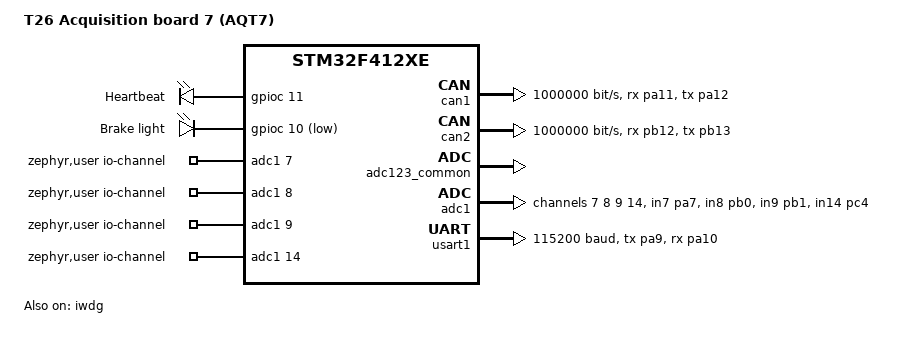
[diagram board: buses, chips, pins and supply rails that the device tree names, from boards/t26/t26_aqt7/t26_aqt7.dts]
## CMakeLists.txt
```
cmake_minimum_required(VERSION 3.20.0)

# The t26_aqt7 board lives in this folder (boards/t26/t26_aqt7).
# Zephyr doesn't search the application folder for boards on its own, so add it here.
list(APPEND BOARD_ROOT ${CMAKE_CURRENT_SOURCE_DIR})

# Default board when none is given (west build without -b, CLion "Let CMake decide").
# The board isn't in Zephyr's own board list, so IDE board pickers don't show it.
# A -b / BOARD given on the command line still takes precedence.
set(BOARD t26_aqt7 CACHE STRING "Zephyr board")

find_package(Zephyr REQUIRED HINTS $ENV{ZEPHYR_BASE})
project(t26_aqt7)

# Firmware version: Zephyr generates zephyr/app_version.h from the VERSION file (semver, bumped by CI)
# and puts this repository's commit in APP_BUILD_VERSION (git describe --abbrev=12 --always).
# By default it only regenerates when VERSION changes: also regenerate it when a commit, checkout or
# git add changes HEAD, the branch ref or the index, so an incremental build reports the right commit.
find_package(Git QUIET)
if(GIT_FOUND)
  execute_process(
    COMMAND ${GIT_EXECUTABLE} rev-parse --path-format=absolute
            --git-path HEAD --git-path index --symbolic-full-name HEAD
    WORKING_DIRECTORY ${CMAKE_CURRENT_SOURCE_DIR}
    OUTPUT_VARIABLE git_out OUTPUT_STRIP_TRAILING_WHITESPACE
    RESULT_VARIABLE git_result ERROR_QUIET
  )
  if(git_result EQUAL 0)
    string(REPLACE "\n" ";" git_out "${git_out}")
    list(GET git_out 0 git_head)
    list(GET git_out 1 git_index)
    set(version_depends ${git_head} ${git_index})
    # Loose ref of the current branch (absent when packed or on a detached HEAD)
    list(LENGTH git_out git_out_len)
    if(git_out_len GREATER 2)
      list(GET git_out 2 git_branch_ref)
      cmake_path(GET git_head PARENT_PATH git_dir)
      if(EXISTS ${git_dir}/${git_branch_ref})
        list(APPEND version_depends ${git_dir}/${git_branch_ref})
      endif()
    endif()
    set(existing_depends)
    foreach(f IN LISTS version_depends)
      if(EXISTS ${f})
        list(APPEND existing_depends ${f})
      endif()
    endforeach()
    set_property(TARGET app_version_h PROPERTY APP_VERSION_DEPENDS ${existing_depends})
    # A checkout to another branch changes which ref file to watch: reconfigure then
    if(EXISTS ${git_head})
      set_property(DIRECTORY APPEND PROPERTY CMAKE_CONFIGURE_DEPENDS ${git_head})
    endif()
  endif()
endif()

# fw_info block (src/fw_version.c) right after the vector table, where a bootloader or the CAN
# updater can find it. The sort key sorts after Zephyr's "0x1vectors" (vector table padding).
zephyr_linker_sources(ROM_START SORT_KEY 0x2fw_info src/fw_info.ld)

# Generated DBC code (cantools), updated by a workflow: never edit or move, only reference
set(DBC_DIR ${CMAKE_CURRENT_SOURCE_DIR}/Core/DBC)

target_sources(app PRIVATE
  src/main.c
  src/conversions.c
  src/sensors.c
  src/brake_light.c
  src/can_bus.c
  src/can_rx.c
  src/can_tx.c
  src/watchdog.c
  src/debug.c
  src/fw_version.c
  ${DBC_DIR}/data_t26.c
  ${DBC_DIR}/autonomous_t26.c
)

# "sim" shell command (CONFIG_AQT7_SIM, on by default when the shell is on)
target_sources_ifdef(CONFIG_AQT7_SIM app PRIVATE src/sim.c)

target_include_directories(app PRIVATE
  ${DBC_DIR}
)
```

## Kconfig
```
# Application options for the AQT7 firmware. Set them in prj.conf.

mainmenu "T26 AQT7"

config AQT7_DEBUG_PRINT_MS
	int "Period of the sensor values log (ms), 0 = off"
	default 100
	help
	  The debug thread logs the brake pressures, suspensions and NTC with
	  their ADC values on the console every this many milliseconds, like
	  execute_100ms_tasks() in the STM32CubeIDE firmware. 0 turns it off;
	  the acq7 debug snapshot is updated either way.

config AQT7_SIM
	bool "\"sim\" shell command to simulate the ADC sensor inputs"
	default y
	depends on SHELL
	help
	  Adds "sim set/mv/off/show" to the shell: any ADC channel (brake,
	  susp_l, susp_r, ntc) can be replaced by a value typed on the console.
	  The value goes through the same filter and conversions as a real
	  sample, so the brake light and the CAN frames follow it.
	  Turn it off for the car so a stray console byte can't fake a sensor.

source "Kconfig.zephyr"
```

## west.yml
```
manifest:
  self:
    path: T26_Acquisition_7
  remotes:
    - name: zephyrproject-rtos
      url-base: https://github.com/zephyrproject-rtos
  projects:
    - name: zephyr
      remote: zephyrproject-rtos
      revision: v4.5.0
      import:
        name-allowlist:
          - cmsis_6
          - hal_stm32
          - segger # RTT: log over SWD through the ST-LINK
```

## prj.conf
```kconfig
# GPIO: heartbeat (PC11) and brake light (PC10)
CONFIG_GPIO=y

# ADC1 (brake pressure, suspension, NTC) and CAN1/CAN2 drivers
CONFIG_ADC=y
CONFIG_CAN=y
# Error counters per type (stuff, form, ACK, bit, CRC) for can_bus_service()
CONFIG_STATS=y
CONFIG_CAN_STATS=y

# IWDG (watchdog0)
CONFIG_WATCHDOG=y
# sys_reboot(), used if a module fails to start and the IWDG isn't running
CONFIG_REBOOT=y

CONFIG_LOG=y
CONFIG_LOG_DEFAULT_LEVEL=3

# SEGGER RTT: a RAM buffer the ST-LINK reads/writes over SWD, so the shell and the log
# work with only the ST-LINK plugged in (west rtt -d build --runner openocd).
CONFIG_USE_SEGGER_RTT=y
# 4 KB up-buffer: ~2 s of the sensor log, so OpenOCD's polling never loses lines
CONFIG_SEGGER_RTT_BUFFER_SIZE_UP=4096
# Input buffer for shell commands (default 16 bytes cuts longer commands sent in one go)
CONFIG_SEGGER_RTT_BUFFER_SIZE_DOWN=128
# The log reaches RTT through the shell (below), which shares RTT channel 0 with it.
# A separate RTT log backend on the same channel would interleave with the shell, so it's off.
CONFIG_LOG_BACKEND_RTT=n

# %f in LOG_* / printk (sensor values in bar, mm, C)
CONFIG_CBPRINTF_FP_SUPPORT=y

# Use the Cortex-M4F hardware FPU for the sensor maths
CONFIG_FPU=y

# Sensor values log period (ms): 1 s keeps the console readable (the CubeIDE printf was every 100 ms). 0 = off (acq7 still updated)
CONFIG_AQT7_DEBUG_PRINT_MS=1000

# Shell on two transports, each with its own prompt and its own copy of the log:
#  - RTT over SWD (prompt "rtt:~$ "): needs only the ST-LINK. When nothing reads RTT (on
#    the car) the backend notices and drops output instead of waiting.
#  - USART1, 115200 8N1 (prompt "uart:~$ "): needs PA9/PA10 wired to the ST-LINK VCP or a
#    USB-UART adapter.
# Log messages go through the shell, so the prompt is redrawn around them;
# "log halt" / "log go" silence and resume the sensor log while typing.
CONFIG_SHELL=y
CONFIG_SHELL_BACKEND_RTT=y
CONFIG_SHELL_BACKEND_SERIAL=y
# Room for the float-formatting log calls that run in the shell thread
CONFIG_SHELL_STACK_SIZE=3072
# gpio get/set/conf, can send/show/filter (frames go onto the real bus), kernel threads/stacks
CONFIG_GPIO_SHELL=y
CONFIG_CAN_SHELL=y
CONFIG_KERNEL_SHELL=y
CONFIG_DEVICE_SHELL=y
```

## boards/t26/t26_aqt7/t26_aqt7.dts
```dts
/*
 * T26 Acquisition board 7 (AQT7)
 * MCU: STM32F412RET6 (512 KB Flash, 256 KB RAM, LQFP64)
 *
 * Pins and clocks follow T26_Acquisition_7.ioc (read-only reference).
 * Described: clocks, console, the two outputs, CAN1, CAN2, ADC1 and IWDG.
 */

/dts-v1/;
#include <st/f4/stm32f412Xe.dtsi>
#include <st/f4/stm32f412r(e-g)tx-pinctrl.dtsi>
#include <zephyr/dt-bindings/adc/adc.h>

/ {
	model = "T26 Acquisition board 7 (AQT7)";
	compatible = "t26,aqt7";

	chosen {
		zephyr,console = &usart1;
		zephyr,shell-uart = &usart1;
		zephyr,sram = &sram0;
		zephyr,flash = &flash0;
	};

	leds: leds {
		compatible = "gpio-leds";

		/* PC11, toggled by the firmware to show the main loop is alive */
		heartbeat: heartbeat {
			gpios = <&gpioc 11 GPIO_ACTIVE_HIGH>;
			label = "Heartbeat";
		};

		/* LIGHT SHOULD TURN ON WHEN BRAKING
		 * 10Kohm pull down on R55 with TYPE P MOSFET (NOT N, IGNORE SCH)
		 */
		brake_light: brake_light {
			gpios = <&gpioc 10 GPIO_ACTIVE_LOW>;
			label = "Brake light";
		};
	};

	aliases {
		led0 = &heartbeat;	/* lets samples/basic/blinky run unmodified */
		heartbeat = &heartbeat;
		brake-light = &brake_light;
		can-autonomous = &can1;
		can-data = &can2;
		watchdog0 = &iwdg;
	};

	/* ADC channels in scan order, for ADC_DT_SPEC_GET_BY_IDX(DT_PATH(zephyr_user), i):
	 * 0 brake pressure, 1 left suspension, 2 right suspension, 3 coolant NTC
	 */
	zephyr,user {
		io-channels = <&adc1 7>, <&adc1 8>, <&adc1 9>, <&adc1 14>;
	};
};

/*
 * CAN1: PA11 RX / PA12 TX, 1 Mbit/s.
 * IOC: prescaler 3, BS1 11, BS2 4 -> 16 tq at 48 MHz APB1, sample point (1 + 11) / 16 = 75 %.
 */
&can1 {
	pinctrl-0 = <&can1_rx_pa11 &can1_tx_pa12>;
	pinctrl-names = "default";
	bitrate = <1000000>;
	sample-point = <750>;
	status = "okay";
};

/*
 * CAN2 (DATA bus): PB12 RX / PB13 TX, 1 Mbit/s.
 * IOC: prescaler 3, BS1 13, BS2 2 -> 16 tq, sample point (1 + 13) / 16 = 87.5 %.
 * CAN2 is a slave of CAN1 (shared filter banks), so CAN1 must stay enabled.
 */
&can2 {
	pinctrl-0 = <&can2_rx_pb12 &can2_tx_pb13>;
	pinctrl-names = "default";
	bitrate = <1000000>;
	sample-point = <875>;
	status = "okay";
};

/* RX pins have the internal pull-up enabled in the IOC */
&can1_rx_pa11 {
	bias-pull-up;
};

&can2_rx_pb12 {
	bias-pull-up;
};

/* ADC clock = APB2 96 MHz / 4 = 24 MHz (max 36 MHz on the F412) */
&adc123_common {
	st,adc-prescaler = <4>;
	status = "okay";
};

/*
 * ADC1, 12 bit, 480 cycle sampling on every channel (same as the IOC).
 * The channel order matches the IOC scan ranks 1-4.
 */
&adc1 {
	pinctrl-0 = <&adc1_in7_pa7 &adc1_in8_pb0 &adc1_in9_pb1 &adc1_in14_pc4>;
	pinctrl-names = "default";
	status = "okay";
	#address-cells = <1>;
	#size-cells = <0>;

	/* Rank 1, PA7: brake pressure (BRK_PRESS) */
	brk_press: channel@7 {
		reg = <7>;
		zephyr,gain = "ADC_GAIN_1";
		zephyr,reference = "ADC_REF_INTERNAL";
		zephyr,acquisition-time = <ADC_ACQ_TIME(ADC_ACQ_TIME_TICKS, 480)>;
		zephyr,resolution = <12>;
	};

	/* Rank 2, PB0: left suspension (SUSP_LEFT) */
	susp_left: channel@8 {
		reg = <8>;
		zephyr,gain = "ADC_GAIN_1";
		zephyr,reference = "ADC_REF_INTERNAL";
		zephyr,acquisition-time = <ADC_ACQ_TIME(ADC_ACQ_TIME_TICKS, 480)>;
		zephyr,resolution = <12>;
	};

	/* Rank 3, PB1: right suspension (SUSP_RIGHT) */
	susp_right: channel@9 {
		reg = <9>;
		zephyr,gain = "ADC_GAIN_1";
		zephyr,reference = "ADC_REF_INTERNAL";
		zephyr,acquisition-time = <ADC_ACQ_TIME(ADC_ACQ_TIME_TICKS, 480)>;
		zephyr,resolution = <12>;
	};

	/* Rank 4, PC4: coolant NTC (NTC1) */
	ntc1: channel@e {
		reg = <14>;
		zephyr,gain = "ADC_GAIN_1";
		zephyr,reference = "ADC_REF_INTERNAL";
		zephyr,acquisition-time = <ADC_ACQ_TIME(ADC_ACQ_TIME_TICKS, 480)>;
		zephyr,resolution = <12>;
	};
};

/* LSI ~32 kHz: clock for the IWDG */
&clk_lsi {
	status = "okay";
};

/*
 * Independent watchdog, clocked from the LSI.
 * The timeout (~2 s in the CubeIDE firmware) is not a devicetree property:
 * the app sets it with wdt_install_timeout() (window.max = 2000 ms), then wdt_setup().
 */
&iwdg {
	status = "okay";
};

/* No crystal on the board: HSI 16 MHz, same as the CubeIDE firmware */
&clk_hsi {
	status = "okay";
};

/* 16 MHz / 8 * 96 = 192 MHz VCO, /2 = 96 MHz SYSCLK, /4 = 48 MHz (Q, unused) */
&pll {
	div-m = <8>;
	mul-n = <96>;
	div-p = <2>;
	div-q = <4>;
	clocks = <&clk_hsi>;
	status = "okay";
};

/* SYSCLK 96 MHz, APB1 48 MHz (CAN), APB2 96 MHz (ADC, USART1) */
&rcc {
	clocks = <&pll>;
	clock-frequency = <DT_FREQ_M(96)>;
	ahb-prescaler = <1>;
	apb1-prescaler = <2>;
	apb2-prescaler = <1>;
};

&usart1 {
	pinctrl-0 = <&usart1_tx_pa9 &usart1_rx_pa10>;
	pinctrl-names = "default";
	current-speed = <115200>;
	status = "okay";
};
```

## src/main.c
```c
/*
 * T26 Acquisition board 7 (AQT7), Zephyr port.
 * Based on "original" C code
 *
 * main starts the IWDG, sets up the hardware in order, starts each module's thread, then runs
 * the heartbeat and feeds the watchdog while every thread is alive.
 *
 * Every module is required, like in the CubeIDE firmware: if one fails to set up, watchdog_fail()
 * stops feeding and the board resets after 2 s and tries the whole setup again
 * (the CubeIDE firmware did the same through Error_Handler + IWDG).
 */

#include <zephyr/kernel.h>
#include <zephyr/drivers/gpio.h>
#include <zephyr/logging/log.h>

#include "brake_light.h"
#include "can_bus.h"
#include "can_rx.h"
#include "can_tx.h"
#include "debug.h"
#include "fw_version.h"
#include "sensors.h"
#include "watchdog.h"

LOG_MODULE_REGISTER(aqt7, LOG_LEVEL_INF);

#define HEARTBEAT_PERIOD_MS 100

static const struct gpio_dt_spec heartbeat = GPIO_DT_SPEC_GET(DT_ALIAS(heartbeat), gpios);

int main(void) {
    LOG_INF("T26 AQT7 fw %s starting on %s", fw_version_string(), CONFIG_BOARD);

    /* First, so a hang anywhere in the setup below also resets the board.
     * If it fails the board still runs, unprotected: that is better than not running at all.
     */
    if (watchdog_init() < 0) {
        LOG_ERR("IWDG not running: the board will NOT reset on a hang");
    }

    if (!gpio_is_ready_dt(&heartbeat) || gpio_pin_configure_dt(&heartbeat, GPIO_OUTPUT_INACTIVE) < 0) {
        watchdog_fail("heartbeat GPIO setup failed");
    }

    // ADC1: brake pressure, suspension, NTC
    if (sensors_init() < 0) {
        watchdog_fail("ADC setup failed");
    }

    // PC10 brake light
    if (brake_light_init() < 0) {
        watchdog_fail("brake light setup failed");
    }

    // Both CAN buses: start + RX filters
    if (can_bus_init(can_rx_ids, can_rx_id_count) < 0) {
        watchdog_fail("CAN setup failed");
    }

    // All hardware ready: start the threads (each registers with the watchdog)
    sensors_start();
    brake_light_start();
    can_rx_start();
    can_tx_start();
    debug_start();

    /* Absolute deadlines: the period doesn't drift with the time spent in the loop */
    int64_t next = k_uptime_get();

    while (1) {
        gpio_pin_toggle_dt(&heartbeat);
        watchdog_service();
        can_bus_service(); /* bus health, error log, restart of a stopped controller */

        next += HEARTBEAT_PERIOD_MS;
        k_sleep(K_TIMEOUT_ABS_MS(next));
    }

    return 0;
}
```

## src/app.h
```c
/*
 * Application-wide settings shared by the modules.
 */

#ifndef T26_AQT7_APP_H_
#define T26_AQT7_APP_H_

/*
 * Thread priorities: lower number = runs first (all preemptible).
 */
#define PRIO_SENSORS     2
#define PRIO_BRAKE_LIGHT 3
#define PRIO_CAN_RX      4
#define PRIO_CAN_TX      5
#define PRIO_DEBUG       6  /* lowest: snapshot and log only use spare CPU time */

#define STACK_SIZE_DEFAULT 1024
#define STACK_SIZE_DEBUG   2048 /* float formatting in the log */

#endif /* T26_AQT7_APP_H_ */
```

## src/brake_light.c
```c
/*
 * Brake light: PC10, driven from the rear (ADC) and front (CAN1 0x710) brake pressures.
 */

#include <zephyr/kernel.h>
#include <zephyr/drivers/gpio.h>
#include <zephyr/logging/log.h>

#include "app.h"
#include "watchdog.h"
#include "brake_light.h"
#include "can_rx.h"
#include "sensors.h"

LOG_MODULE_REGISTER(brake_light, LOG_LEVEL_INF);

#define BRAKE_LIGHT_PERIOD_MS 50 //cycle duration
#define PRESSURE_LEVEL_REAR 7
#define PRESSURE_LEVEL_FRONT 7

static const struct gpio_dt_spec gp_brake_light = GPIO_DT_SPEC_GET(DT_ALIAS(brake_light), gpios);

int brake_light_init(void) {
    if (!gpio_is_ready_dt(&gp_brake_light)) {
        LOG_ERR("Brake light GPIO not ready");
        return -ENODEV;
    }

    /* Inactive = light off: PC10 LOW, the same level the gate pull-down holds during reset */
    return gpio_pin_configure_dt(&gp_brake_light, GPIO_OUTPUT_INACTIVE);
}

/**
 * Brake Light Thread
 * @param p1 UNUSED
 * @param p2 UNUSED
 * @param p3 UNUSED
 */
static void brake_light_thread(void *p1, void *p2, void *p3) {
    ARG_UNUSED(p1);
    ARG_UNUSED(p2);
    ARG_UNUSED(p3);

    while (1) {
        watchdog_checkin(WDOG_BRAKE_LIGHT);

        bool is_on = sensors_get().rear_brake_bar >= PRESSURE_LEVEL_REAR
                     || get_front_brake_pressure() >= PRESSURE_LEVEL_FRONT;

        gpio_pin_set_dt(&gp_brake_light, is_on);

        k_sleep(K_MSEC(BRAKE_LIGHT_PERIOD_MS));
    }
}

K_THREAD_DEFINE(brakelight_tid, STACK_SIZE_DEFAULT, brake_light_thread, NULL, NULL, NULL,
                PRIO_BRAKE_LIGHT, 0, SYS_FOREVER_MS);

void brake_light_start(void) {
    watchdog_register(WDOG_BRAKE_LIGHT);
    k_thread_start(brakelight_tid);
}
```

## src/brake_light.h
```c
/*
 * Brake light output (PC10, active high: MOSFET gate).
 */

#ifndef T26_AQT7_BRAKE_LIGHT_H_
#define T26_AQT7_BRAKE_LIGHT_H_

/**
 * Configures PC10 as an output, light off.
 * @return 0 on success, negative errno otherwise
 */
int brake_light_init(void);

/* Starts the brake light thread. Call after brake_light_init() succeeded. */
void brake_light_start(void);

#endif /* T26_AQT7_BRAKE_LIGHT_H_ */
```

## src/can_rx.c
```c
/*
 * CAN receive: decodes the frames queued by the RX filters of both buses.
 * To read a new frame: add it to can_rx_ids[] and add a case in the handler of its bus.
 */

#include <zephyr/kernel.h>
#include <zephyr/logging/log.h>

#include "autonomous_t26.h"
#include "data_t26.h"

#include "app.h"
#include "watchdog.h"
#include "can_bus.h"
#include "can_rx.h"

LOG_MODULE_REGISTER(can_rx, LOG_LEVEL_INF);

/**
 * Array of read frames from all buses
 * {BUS, ID}
 */
const struct can_rx_id can_rx_ids[] = {
    {CAN_BUS_AUTONOMOUS, AUTONOMOUS_T26_AQT1_FRAME_ID},
};

const size_t can_rx_id_count = ARRAY_SIZE(can_rx_ids);

/* Front brake pressure from 0x710 */
#define FRONT_PRESSURE_TIMEOUT_MS 500 /* 0x710 is only trusted while it keeps arriving */

struct front_brake_data {
    float bar;
    uint16_t coded;    /* FRT_BRK_PRESS as received, 0.1 bar/bit */
    int64_t last_rx_ms;
    uint32_t rx_count; /* 0x710 frames decoded since boot */
    bool received;     /* at least one 0x710 since boot */
};

static struct front_brake_data front_brake;
K_MUTEX_DEFINE(front_brake_lock);

struct front_brake_status get_front_brake_status(void) {
    k_mutex_lock(&front_brake_lock, K_FOREVER);
    struct front_brake_data copy = front_brake;
    k_mutex_unlock(&front_brake_lock);

    int64_t age = copy.received ? (k_uptime_get() - copy.last_rx_ms) : -1;
    bool alive = copy.received && (age <= FRONT_PRESSURE_TIMEOUT_MS);

    return (struct front_brake_status){
        .bar = alive ? copy.bar : 0.0f,
        .coded = copy.coded,
        .alive = alive,
        .age_ms = (age < 0) ? UINT32_MAX : (uint32_t) age,
        .rx_count = copy.rx_count,
    };
}

float get_front_brake_pressure(void) {
    return get_front_brake_status().bar;
}

/* Autonomous bus (CAN1) frames */
static void can_handle_autonomous_rx(const struct can_frame *frame) {
    switch (frame->id) {
        case AUTONOMOUS_T26_AQT1_FRAME_ID: {
            struct autonomous_t26_aqt1_t aqt1;

            if (autonomous_t26_aqt1_unpack(&aqt1, frame->data, can_dlc_to_bytes(frame->dlc)) < 0) {
                LOG_WRN("Dropped invalid CAN1 frame");
                return;
            }

            k_mutex_lock(&front_brake_lock, K_FOREVER);
            front_brake.bar = (float) autonomous_t26_aqt1_frt_brk_press_decode(aqt1.frt_brk_press);
            front_brake.coded = aqt1.frt_brk_press;
            front_brake.last_rx_ms = k_uptime_get();
            front_brake.rx_count++;
            front_brake.received = true;
            k_mutex_unlock(&front_brake_lock);
            break;
        }
        default:
            break;
    }
}

/* DATA bus (CAN2) frames: add a case per entry added to can_rx_ids[] */
static void can_handle_data_rx(const struct can_frame *frame) {
    switch (frame->id) {
        default:
            break;
    }
}

#define CAN_RX_WAIT_MS 100 /* longest wait for a frame before checking in with the watchdog */

/**
 * CAN RX Thread: decodes the frames queued by the RX filters of both buses.
 */
static void can_rx_thread(void *p1, void *p2, void *p3) {
    ARG_UNUSED(p1);
    ARG_UNUSED(p2);
    ARG_UNUSED(p3);

    struct can_rx_msg msg;

    while (1) {
        watchdog_checkin(WDOG_CAN_RX);

        /* Bounded wait instead of K_FOREVER: the thread must check in even when no frame arrives */
        if (can_bus_receive(&msg, K_MSEC(CAN_RX_WAIT_MS)) < 0) {
            continue;
        }

        /* Filters are standard-ID data frames only, but stay safe */
        if (msg.frame.flags & (CAN_FRAME_IDE | CAN_FRAME_RTR)) {
            continue;
        }

        switch (msg.bus) {
            case CAN_BUS_AUTONOMOUS:
                can_handle_autonomous_rx(&msg.frame);
                break;
            case CAN_BUS_DATA:
                can_handle_data_rx(&msg.frame);
                break;
            default:
                break;
        }
    }
}

K_THREAD_DEFINE(can_rx_tid, STACK_SIZE_DEFAULT, can_rx_thread, NULL, NULL, NULL,
                PRIO_CAN_RX, 0, SYS_FOREVER_MS);

void can_rx_start(void) {
    watchdog_register(WDOG_CAN_RX);
    k_thread_start(can_rx_tid);
}
```

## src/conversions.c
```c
/*
 * Sensor conversions: ADC counts -> engineering units.
 */

#include <math.h>

#include "conversions.h"

// Hardware constant definition
#define ADC_MAX 4095.0f
#define MCU_VOLTAGE 3.3f
#define SENSOR_VOLTAGE 5.0f

/**
 * Bosch 0 261 545 053: GAUGE pressure (0 bar = atmosphere, so 0 bar at rest), 0.5-4.5 V for 0-140 bar, 5 V supply.
 * The board divider does not attenuate: PA7 sees the sensor output ~1:1 (with 0.667 the rest read ~10 bar).
 * At rest (pedal released) PA7 reads ~0.61 V instead of the nominal 0.5 V (~4 bar too much). A divider can only
 * lower a voltage, so this is not the divider: it is the sensor's own offset, a sensor/board ground shift or residual
 * line pressure. OFFSET_VOLTAGE removes it. It has drifted before (0.52 V on 03-10), re-check it after harness work.
 * ponytail: ADC tops out at 3.3 V = ~98 bar; above that PA7 also exceeds its 3.6 V max. Fix the divider, then set its ratio here.
 *
 * @param adcReading bits read from the ADC
 * @return The brake pressure in bar (0-140 bar)
 */
float MeasureBreakPressure(uint16_t adcReading) {
    const float CONVERSION_FACTOR = 1.0f; // V_PA7 / V_sensor, measure both at rest to tune
    const float OFFSET_VOLTAGE = 0.614f; // PA7 volts at 0 bar: pedal released, copy acq7.adc.volts[0] here to re-zero
    const float SENSITIVITY = 0.02857f; // V/bar
    const float MAX_PRESSURE = 140.0f;

    float voltReading = ((float) adcReading * MCU_VOLTAGE / ADC_MAX) / CONVERSION_FACTOR;

    if (voltReading <= OFFSET_VOLTAGE) {
        // From old firmware: if below 0, set to 0.
        // However, if the voltage is below a 0.5V offset (assuming OFFSET_VOLTAGE), the pressure is 0.
        return 0.0f;
    }

    if (voltReading > SENSOR_VOLTAGE) {
        //Maybe return 140.0f immediately
        voltReading = SENSOR_VOLTAGE;
    }

    float pressure = (voltReading - OFFSET_VOLTAGE) / SENSITIVITY;

    //Pressure clamp
    if (pressure > MAX_PRESSURE) {
        return MAX_PRESSURE;
    }
    return pressure;
}

/**
 * Linear potentiometer: 75 mm electrical stroke, 5 V supply, 5 V -> 3.3 V divider
 * @param adcReading bits read from the ADC
 * @return Ride height in mm
 */
float MeasureSuspensionPosition(uint16_t adcReading) {
    const float CONVERSION_FACTOR = MCU_VOLTAGE / SENSOR_VOLTAGE;
    const float ELECTRICAL_STROKE = 75.0f;

    float volts = (float) adcReading * MCU_VOLTAGE / ADC_MAX / CONVERSION_FACTOR;

    return (ELECTRICAL_STROKE * volts) / SENSOR_VOLTAGE;
}

/**
 * Coolant NTCs: Vishay NTCAIMM66H, 10k @ 25 C, B25/85 = 3984 K.
 * Board: 5 V -> NTC -> node A; node A has 100k to GND and 24.3k -> ADC pin (4.9k from the ADC pin to GND)
 * @param adcReading bits read from the ADC
 * @return temperature in C
 */
float MeasureNTCTemperature(uint16_t adcReading) {
    const float NTC_R_SERIES = 24300.0f;
    const float NTC_R_BOTTOM = 4900.0f;
    const float NTC_R_PULLDOWN = 100000.0f;

    // Voltage at the MCU pin, then back up through the 24.3k / 4.9k divider to node A
    float v_pin = (float) adcReading * MCU_VOLTAGE / ADC_MAX;
    float v_a = v_pin * (NTC_R_SERIES + NTC_R_BOTTOM) / NTC_R_BOTTOM;

    // Open sensor (pulled to 0 V) or shorted sensor (node A at the full supply)
    if (adcReading == 0 || v_a >= SENSOR_VOLTAGE) {
        // Fault state
        return NTC_FAULT_C;
    }

    // Node A sees the 100k pull-down in parallel with the 24.3k + 4.9k branch
    float r_branch = NTC_R_SERIES + NTC_R_BOTTOM;
    float r_low = (NTC_R_PULLDOWN * r_branch) / (NTC_R_PULLDOWN + r_branch);

    // v_a = VSUPPLY * r_low / (r_ntc + r_low)
    float r_ntc = r_low * (SENSOR_VOLTAGE - v_a) / v_a;

    // Beta equation around 25 C
    const float T25_K = 298.15f;
    // 1 / T25_K + logf(r_ntc / NTC_R25) / NTC_B
    float inv_t = 1.0f / T25_K + logf(r_ntc / 10000.0f) / 3984.0f;

    return 1.0f / inv_t - 273.15f;
}
```

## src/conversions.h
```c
/*
 * Sensor conversions: ADC counts -> engineering units.
 * Plain C, no Zephyr calls, so it can be unit tested on the PC (native_sim).
 */

#ifndef T26_AQT7_CONVERSIONS_H_
#define T26_AQT7_CONVERSIONS_H_

#include <stdint.h>

/* MeasureNTCTemperature result for an open or shorted sensor */
#define NTC_FAULT_C (-99.0f)

/**
 * @param adcReading bits read from the ADC
 * @return The brake pressure in bar (0-140 bar)
 */
float MeasureBreakPressure(uint16_t adcReading);

/**
 * @param adcReading bits read from the ADC
 * @return Absolute sensor position in mm (0-75 mm)
 */
float MeasureSuspensionPosition(uint16_t adcReading);

/**
 * @param adcReading bits read from the ADC
 * @return Temperature in C, NTC_FAULT_C for an open or shorted sensor
 */
float MeasureNTCTemperature(uint16_t adcReading);

#endif /* T26_AQT7_CONVERSIONS_H_ */
```

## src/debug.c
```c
/*
 * Debug snapshot (acq7) and periodic sensor log.
 * Port of Acq7_DebugUpdate() and execute_100ms_tasks() from the STM32CubeIDE firmware.
 * Only reads the other modules through their getters.
 */

#include <zephyr/kernel.h>
#include <zephyr/drivers/gpio.h>
#include <zephyr/logging/log.h>

#include "app.h"
#include "can_rx.h"
#include "debug.h"
#include "watchdog.h"

LOG_MODULE_REGISTER(debug, LOG_LEVEL_INF);

#define DEBUG_UPDATE_PERIOD_MS 10 /* same rate as Acq7_DebugUpdate() */

/* Not static: the debugger finds it by name */
struct acq7_debug acq7;

/* Read only: the pins are driven by brake_light.c and main.c */
//static const struct gpio_dt_spec brake_light_pin = GPIO_DT_SPEC_GET(DT_ALIAS(brake_light), gpios);
static const struct gpio_dt_spec heartbeat_pin = GPIO_DT_SPEC_GET(DT_ALIAS(heartbeat), gpios);

static void debug_update(void) {
    struct vehicle_sensor_data acq7_data = sensors_get();
    struct front_brake_status front_brake_data = get_front_brake_status();

    acq7.time_ms = k_uptime_get_32();

    for (int i = 0; i < SENSOR_ADC_CHANNELS; i++) {
        acq7.adc.raw[i] = acq7_data.raw[i];
        acq7.adc.filtered[i] = acq7_data.filtered[i];
        acq7.adc.volts[i] = acq7_data.filtered[i] * 3.3f / 4095.0f;
    }

    acq7.sensors.brake_rear_bar = acq7_data.rear_brake_bar;
    acq7.sensors.brake_front_bar = front_brake_data.bar;
    acq7.sensors.susp_left_mm = acq7_data.susp_left_mm;
    acq7.sensors.susp_right_mm = acq7_data.susp_right_mm;
    acq7.sensors.ntc1_c = acq7_data.ntc1_c;

    /* Logical levels: brake_light 1 = on (PC10 high) */
    acq7.io.brake_light = (uint8_t) 0/*gpio_pin_get_dt(&brake_light_pin)*/;
    acq7.io.heartbeat = (uint8_t) gpio_pin_get_dt(&heartbeat_pin);

    acq7.front.coded = front_brake_data.coded;
    acq7.front.alive = front_brake_data.alive;
    acq7.front.age_ms = front_brake_data.age_ms;
    acq7.front.rx_count = front_brake_data.rx_count;

    acq7.can.tx = can_tx_get_last_payloads();
    acq7.can.autonomous = can_bus_get_status(CAN_BUS_AUTONOMOUS);
    acq7.can.data = can_bus_get_status(CAN_BUS_DATA);
}

/* Same content as the CubeIDE printf lines, from the snapshot just taken */
static void debug_print(void) {
    LOG_INF("Rear brake %.2f bar (adc %u) | Front brake %.2f bar (coded %u, %s)",
            (double) acq7.sensors.brake_rear_bar, acq7.adc.filtered[ADC_BRAKE],
            (double) acq7.sensors.brake_front_bar, acq7.front.coded,
            acq7.front.alive ? "alive" : "not arriving");
    LOG_INF("Susp L %.2f mm (adc %u) | Susp R %.2f mm (adc %u) | NTC1 %.1f C (adc %u)",
            (double) acq7.sensors.susp_left_mm, acq7.adc.filtered[ADC_SUSP_LEFT],
            (double) acq7.sensors.susp_right_mm, acq7.adc.filtered[ADC_SUSP_RIGHT],
            (double) acq7.sensors.ntc1_c, acq7.adc.filtered[ADC_NTC1]);
}

/**
 * Debug Thread: refreshes acq7 every 10 ms and logs the sensor values every
 * CONFIG_AQT7_DEBUG_PRINT_MS (0 = never). Lowest priority: it only uses spare CPU time.
 */
static void debug_thread(void *p1, void *p2, void *p3) {
    ARG_UNUSED(p1);
    ARG_UNUSED(p2);
    ARG_UNUSED(p3);

    int64_t next = k_uptime_get();
    int64_t next_print = next;

    while (1) {
        watchdog_checkin(WDOG_DEBUG);

        debug_update();

        if ((CONFIG_AQT7_DEBUG_PRINT_MS > 0) && (k_uptime_get() >= next_print)) {
            debug_print();
            next_print += CONFIG_AQT7_DEBUG_PRINT_MS;
        }

        next += DEBUG_UPDATE_PERIOD_MS;
        k_sleep(K_TIMEOUT_ABS_MS(next));
    }
}

K_THREAD_DEFINE(debug_tid, STACK_SIZE_DEBUG, debug_thread, NULL, NULL, NULL,
                PRIO_DEBUG, 0, SYS_FOREVER_MS);

void debug_start(void) {
    watchdog_register(WDOG_DEBUG);
    k_thread_start(debug_tid);
}
```

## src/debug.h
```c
/*
 * Debug snapshot (acq7) and periodic sensor log.
 *
 * acq7 is a global struct refreshed every 10 ms by the debug thread. Add "acq7" to a live view
 * (CLion Live Watches, STM32CubeIDE Live Expressions on zephyr.elf, STM32CubeMonitor) to watch the
 * whole board while it runs. Nothing in the firmware reads it.
 */

#ifndef T26_AQT7_DEBUG_H_
#define T26_AQT7_DEBUG_H_

#include <stdint.h>

#include "can_bus.h"
#include "can_tx.h"
#include "sensors.h"

struct acq7_debug {
    uint32_t time_ms;                         /* uptime (ms) */

    struct {
        uint16_t raw[SENSOR_ADC_CHANNELS];      /* latest samples: [0] PA7 brake, [1] PB0 susp L, [2] PB1 susp R, [3] PC4 NTC1 */
        uint16_t filtered[SENSOR_ADC_CHANNELS]; /* moving average */
        float volts[SENSOR_ADC_CHANNELS];       /* filtered value at the MCU pin (V) */
    } adc;

    struct {
        float brake_rear_bar;
        float brake_front_bar;                  /* 0 while 0x710 is not arriving */
        float susp_left_mm;
        float susp_right_mm;
        float ntc1_c;                           /* NTC_FAULT_C if open / shorted */
    } sensors;

    struct {
        uint8_t brake_light;                    /* 1 = light on (PC10 driven high) */
        uint8_t heartbeat;                      /* PC11 level */
    } io;

    struct {
        uint16_t coded;                         /* 0x710 FRT_BRK_PRESS, 0.1 bar/bit */
        uint8_t alive;                          /* 1 while 0x710 arrives within 500 ms */
        uint32_t age_ms;                        /* time since the last 0x710, UINT32_MAX if never */
        uint32_t rx_count;                      /* 0x710 frames received */
    } front;

    struct {
        struct can_tx_payloads tx;              /* last payloads queued on each bus */
        struct can_bus_status autonomous;       /* CAN1 */
        struct can_bus_status data;             /* CAN2 */
    } can;
};

/* The snapshot, at a fixed RAM address for the debugger */
extern struct acq7_debug acq7;

/* Starts the debug thread (snapshot every 10 ms, log every CONFIG_AQT7_DEBUG_PRINT_MS) */
void debug_start(void);

#endif /* T26_AQT7_DEBUG_H_ */
```

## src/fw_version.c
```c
/*
 * Firmware version: fw_info block and version string. See fw_version.h.
 *
 * The shell already has Zephyr's "app version" and "app build-version" (CONFIG_APP_VERSION_SHELL,
 * on with the shell once the VERSION file exists).
 */

#include <ctype.h>
#include <errno.h>
#include <string.h>
#include <zephyr/app_version.h>
#include <zephyr/kernel.h>
#include <zephyr/sys/util.h>

#include "fw_version.h"

#define BUILD_STR STRINGIFY(APP_BUILD_VERSION)
#define HASH_HEX_LEN (2 * FW_HASH_LEN)

BUILD_ASSERT(sizeof(struct fw_info) == 48, "fw_info layout changed: bump FW_INFO_VERSION");
BUILD_ASSERT(sizeof(BUILD_STR) <= sizeof(((struct fw_info *) 0)->build), "APP_BUILD_VERSION too long for fw_info");
BUILD_ASSERT(APP_VERSION_MAJOR <= UINT8_MAX && APP_VERSION_MINOR <= UINT8_MAX && APP_PATCHLEVEL <= UINT8_MAX,
             "VERSION fields must fit in a byte");

/* __used: nothing in the firmware reads it, only a bootloader or updater */
__used __aligned(4) Z_GENERIC_SECTION(.fw_info) const struct fw_info fw_info = {
    .magic = FW_INFO_MAGIC,
    .info_version = FW_INFO_VERSION,
    .major = APP_VERSION_MAJOR,
    .minor = APP_VERSION_MINOR,
    .patch = APP_PATCHLEVEL,
    .tweak = APP_TWEAK,
    .build = BUILD_STR,
};

const char *fw_version_string(void) {
    return APP_VERSION_STRING " (" BUILD_STR ")";
}

static bool is_hex(const char *s, size_t n) {
    for (size_t i = 0; i < n; i++) {
        if (!isxdigit((unsigned char) s[i])) {
            return false;
        }
    }
    return true;
}

int fw_version_parse_hash(const char *describe, uint8_t out[FW_HASH_LEN]) {
    if (describe == NULL) {
        return -EINVAL;
    }

    /* "<tag>-<n>-g<hash>": the hash follows the last "-g". Otherwise the whole string is the hash. */
    const char *hash = describe;
    for (const char *p = strstr(describe, "-g"); p != NULL; p = strstr(p + 1, "-g")) {
        hash = p + 2;
    }

    size_t len = strlen(hash);
    if (len < HASH_HEX_LEN || !is_hex(hash, len)) {
        return -EINVAL;
    }

    return hex2bin(hash, HASH_HEX_LEN, out, FW_HASH_LEN) == FW_HASH_LEN ? 0 : -EINVAL;
}

int fw_version_get_hash(uint8_t out[FW_HASH_LEN]) {
    return fw_version_parse_hash(fw_info.build, out);
}
```

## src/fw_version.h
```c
/*
 * Firmware version: semver from the VERSION file (bumped by CI) and the git commit it was built from.
 *
 * Both come from Zephyr's zephyr/app_version.h: APP_VERSION_MAJOR/MINOR/PATCHLEVEL/TWEAK and
 * APP_BUILD_VERSION (git describe --abbrev=12 --always, e.g. ee0815a1b2c3). The same data is stored in
 * fw_info, a fixed-format block right after the vector table, for a bootloader or the CAN updater.
 */

#ifndef T26_AQT7_FW_VERSION_H_
#define T26_AQT7_FW_VERSION_H_

#include <stddef.h>
#include <stdint.h>
#include <zephyr/toolchain.h>

/* Bytes "AQ7I" at the start of the block (little-endian) */
#define FW_INFO_MAGIC 0x49375141u

/* Layout version of struct fw_info: bump it whenever the layout changes */
#define FW_INFO_VERSION 1

/* Bytes of the commit hash reported by fw_version_get_hash(): the 12 hex characters of APP_BUILD_VERSION */
#define FW_HASH_LEN 6

/*
 * Fixed-format block in flash, 48 bytes, little-endian. An updater finds it by searching for
 * FW_INFO_MAGIC (4-byte aligned) in the first 1 KiB of the image.
 */
struct fw_info {
    uint32_t magic;         /* FW_INFO_MAGIC */
    uint8_t info_version;   /* FW_INFO_VERSION */
    uint8_t major;          /* VERSION_MAJOR */
    uint8_t minor;          /* VERSION_MINOR */
    uint8_t patch;          /* PATCHLEVEL */
    uint32_t tweak;         /* VERSION_TWEAK */
    char build[32];         /* APP_BUILD_VERSION as text (the commit hash), NUL-terminated */
    uint8_t reserved[4];    /* 0, room for the updater (e.g. image size or CRC) */
} __packed;

extern const struct fw_info fw_info;

/* "0.1.0 (ee0815a1b2c3)": semver and commit, for the log and the shell */
const char *fw_version_string(void);

/*
 * Commit hash of this build as FW_HASH_LEN bytes (e.g. for a CAN frame).
 * @return 0, or -EINVAL if the build has no git hash (built without git)
 */
int fw_version_get_hash(uint8_t out[FW_HASH_LEN]);

/*
 * Hash bytes from a git describe string: "ee0815a1b2c3" or "v0.1.0-3-gee0815a1b2c3".
 * Uses the first 12 hex characters of the hash (git may print more to stay unique).
 * @return 0, or -EINVAL if there is no hash (e.g. "", "unknown", or only a tag name)
 */
int fw_version_parse_hash(const char *describe, uint8_t out[FW_HASH_LEN]);

#endif /* T26_AQT7_FW_VERSION_H_ */
```

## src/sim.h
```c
/*
 * Simulated ADC inputs, set from the shell ("sim" command).
 *
 * An overridden channel replaces the raw ADC sample before the moving average, so the
 * simulated value goes through the same filter, conversions, brake light and CAN TX as a real one.
 */

#ifndef T26_AQT7_SIM_H_
#define T26_AQT7_SIM_H_

#include <stdint.h>

#include "sensors.h"

#if defined(CONFIG_AQT7_SIM)
/* Replaces the overridden channels of a fresh ADC sample. Called by the sensors thread. */
void sim_apply(uint16_t raw[SENSOR_ADC_CHANNELS]);
#else
static inline void sim_apply(uint16_t raw[SENSOR_ADC_CHANNELS]) {
    (void) raw;
}
#endif

#endif /* T26_AQT7_SIM_H_ */
```

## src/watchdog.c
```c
/*
 * IWDG supervisor: feeds the watchdog only while every supervised thread is alive.
 */

#include <zephyr/kernel.h>
#include <zephyr/device.h>
#include <zephyr/drivers/watchdog.h>
#include <zephyr/logging/log.h>
#include <zephyr/sys/atomic.h>
#include <zephyr/sys/reboot.h>

#include "watchdog.h"

LOG_MODULE_REGISTER(watchdog, LOG_LEVEL_INF);

/* How long a thread may miss its check-in before it is reported (the reset comes at 2 s) */
#define WATCHDOG_REPORT_MS 1000

static const char *const client_name[WDOG_CLIENT_COUNT] = {
    [WDOG_SENSORS] = "sensors",
    [WDOG_BRAKE_LIGHT] = "brake_light",
    [WDOG_CAN_RX] = "can_rx",
    [WDOG_CAN_TX] = "can_tx",
    [WDOG_DEBUG] = "debug",
};

static const struct device *const wdt = DEVICE_DT_GET(DT_ALIAS(watchdog0));
static int wdt_channel = -1; /* -1 = IWDG not running */

static atomic_t expected; /* bit per registered thread */
static atomic_t alive;    /* bit per thread that checked in since the last feed */
static int64_t last_feed_ms;
static bool reported;     /* missing threads already logged for this stall */

int watchdog_init(void) {
    if (!device_is_ready(wdt)) {
        LOG_ERR("IWDG not ready");
        return -ENODEV;
    }

    const struct wdt_timeout_cfg cfg = {
        .window.min = 0,
        .window.max = WATCHDOG_TIMEOUT_MS,
        .callback = NULL,
        .flags = WDT_FLAG_RESET_SOC,
    };

    int channel = wdt_install_timeout(wdt, &cfg);
    if (channel < 0) {
        LOG_ERR("IWDG timeout install failed (%d)", channel);
        return channel;
    }

    /* Paused while the debugger halts the CPU, so breakpoints don't reset the board */
    int ret = wdt_setup(wdt, WDT_OPT_PAUSE_HALTED_BY_DBG);
    if (ret < 0) {
        LOG_ERR("IWDG setup failed (%d)", ret);
        return ret;
    }

    wdt_channel = channel;
    last_feed_ms = k_uptime_get();
    LOG_INF("IWDG running, %d ms timeout", WATCHDOG_TIMEOUT_MS);
    return 0;
}

void watchdog_register(enum watchdog_client client) {
    atomic_set_bit(&alive, client); /* counts as alive until its first loop */
    atomic_set_bit(&expected, client);
}

void watchdog_checkin(enum watchdog_client client) {
    atomic_set_bit(&alive, client);
}

void watchdog_service(void) {
    if (wdt_channel < 0) {
        return;
    }

    // each mask holds one bit per thread
    atomic_val_t expected_mask = atomic_get(&expected);
    atomic_val_t elapsed_mask = atomic_get(&alive);

    if ((elapsed_mask & expected_mask) == expected_mask) {
        wdt_feed(wdt, wdt_channel);
        atomic_clear(&alive);
        last_feed_ms = k_uptime_get();
        reported = false;
        return;
    }

    /* Not fed: say once which threads are missing, before the reset */
    if (!reported && (k_uptime_get() - last_feed_ms) >= WATCHDOG_REPORT_MS) {
        reported = true;
        for (int i = 0; i < WDOG_CLIENT_COUNT; i++) {
            if ((expected_mask & BIT(i)) && !(elapsed_mask & BIT(i))) {
                LOG_ERR("Thread %s stopped checking in: reset in < %d ms",
                        client_name[i], WATCHDOG_TIMEOUT_MS - WATCHDOG_REPORT_MS);
            }
        }
    }
}

FUNC_NORETURN void watchdog_fail(const char *reason) {
    LOG_ERR("Fatal: %s. Resetting to retry the setup", reason);

    if (wdt_channel < 0) {
        /* No IWDG to do it: let the log go out, then reset directly */
        k_sleep(K_MSEC(WATCHDOG_TIMEOUT_MS));
        sys_reboot(SYS_REBOOT_COLD);
    }

    /* Stop feeding: the IWDG resets the board within WATCHDOG_TIMEOUT_MS */
    while (1) {
        k_sleep(K_FOREVER);
    }
}
```
